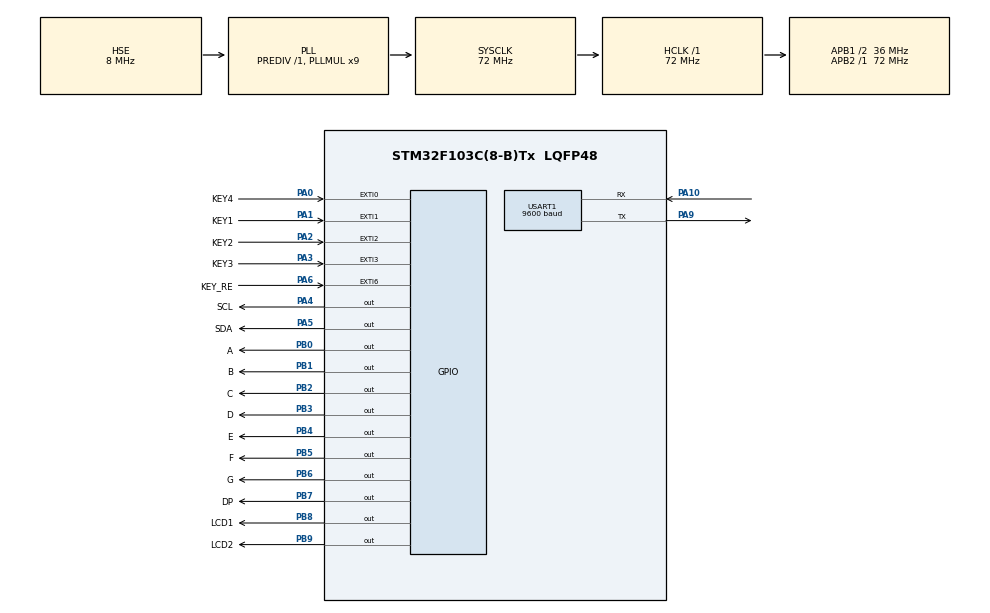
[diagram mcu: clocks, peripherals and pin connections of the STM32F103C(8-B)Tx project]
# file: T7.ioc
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Dma.Request0=USART1_RX
Dma.USART1_RX.0.Direction=DMA_PERIPH_TO_MEMORY
Dma.USART1_RX.0.Instance=DMA1_Channel5
Dma.USART1_RX.0.MemDataAlignment=DMA_MDATAALIGN_BYTE
Dma.USART1_RX.0.MemInc=DMA_MINC_ENABLE
Dma.USART1_RX.0.Mode=DMA_CIRCULAR
Dma.USART1_RX.0.PeriphDataAlignment=DMA_PDATAALIGN_BYTE
Dma.USART1_RX.0.PeriphInc=DMA_PINC_DISABLE
Dma.USART1_RX.0.Priority=DMA_PRIORITY_MEDIUM
FREERTOS.Mutexes01=counterMutex,Dynamic,NULL,Available
FREERTOS.Queues01=uartRxQueue,32,uint8_t,0,Dynamic,NULL,NULL;uartEvtQueue,8,UartEvent_t,0,Dynamic,NULL,NULL
FREERTOS.Tasks01=TaskDisplay,40,128,StartTaskDisplay,Default,NULL,Dynamic,NULL,NULL;TaskKey,32,192,StartTaskKey,Default,NULL,Dynamic,NULL,NULL;TaskUartRx,24,256,StartTaskUartRx,Default,NULL,Dynamic,NULL,NULL;TaskUartTx,8,192,StartTaskUartTx,Default,NULL,Dynamic,NULL,NULL
FREERTOS.configCHECK_FOR_STACK_OVERFLOW=2
FREERTOS.configENABLE_BACKWARD_COMPATIBILITY=0
FREERTOS.configTOTAL_HEAP_SIZE=6144
FREERTOS.configUSE_MALLOC_FAILED_HOOK=1
FREERTOS.configUSE_TRACE_FACILITY=0
Mcu.Family=STM32F1
Mcu.Name=STM32F103C(8-B)Tx
Mcu.Package=LQFP48
NVIC.DMA1_Channel5_IRQn=true\:5\:0\:false\:false\:true\:true\:false\:true\:true
NVIC.EXTI0_IRQn=true\:5\:0\:true\:false\:true\:true\:true\:true\:true
NVIC.EXTI1_IRQn=true\:5\:0\:true\:false\:true\:true\:true\:true\:true
NVIC.EXTI2_IRQn=true\:5\:0\:true\:false\:true\:true\:true\:true\:true
NVIC.EXTI3_IRQn=true\:5\:0\:true\:false\:true\:true\:true\:true\:true
NVIC.EXTI9_5_IRQn=true\:5\:0\:true\:false\:true\:true\:true\:true\:true
NVIC.PriorityGroup=NVIC_PRIORITYGROUP_4
NVIC.USART1_IRQn=true\:5\:0\:true\:false\:true\:true\:true\:true\:true
PA0-WKUP.GPIO_Label=KEY4
PA0-WKUP.GPIO_PuPd=GPIO_PULLDOWN
PA0-WKUP.Signal=GPXTI0
PA1.GPIO_Label=KEY1
PA1.GPIO_PuPd=GPIO_PULLDOWN
PA1.Signal=GPXTI1
PA10.Mode=Asynchronous
PA10.Signal=USART1_RX
PA2.GPIO_Label=KEY2
PA2.GPIO_PuPd=GPIO_PULLDOWN
PA2.Signal=GPXTI2
PA3.GPIO_Label=KEY3
PA3.GPIO_PuPd=GPIO_PULLDOWN
PA3.Signal=GPXTI3
PA4.GPIO_Label=SCL
PA4.GPIO_ModeDefaultOutputPP=GPIO_MODE_OUTPUT_OD
PA4.GPIO_PuPd=GPIO_PULLUP
PA4.GPIO_Speed=GPIO_SPEED_FREQ_HIGH
PA4.PinState=GPIO_PIN_SET
PA4.Signal=GPIO_Output
PA5.GPIO_Label=SDA
PA5.GPIO_ModeDefaultOutputPP=GPIO_MODE_OUTPUT_OD
PA5.GPIO_PuPd=GPIO_PULLUP
PA5.GPIO_Speed=GPIO_SPEED_FREQ_HIGH
PA5.PinState=GPIO_PIN_SET
PA5.Signal=GPIO_Output
PA6.GPIO_Label=KEY_RE
PA6.GPIO_PuPd=GPIO_PULLDOWN
PA6.Signal=GPXTI6
PA9.Mode=Asynchronous
PA9.Signal=USART1_TX
PB0.GPIO_Label=A
PB0.PinState=GPIO_PIN_RESET
PB0.Signal=GPIO_Output
PB1.GPIO_Label=B
PB1.Signal=GPIO_Output
PB2.GPIO_Label=C
PB2.Signal=GPIO_Output
PB3.GPIO_Label=D
PB3.Signal=GPIO_Output
PB4.GPIO_Label=E
PB4.Signal=GPIO_Output
PB5.GPIO_Label=F
PB5.Signal=GPIO_Output
PB6.GPIO_Label=G
PB6.Signal=GPIO_Output
PB7.GPIO_Label=DP
PB7.Signal=GPIO_Output
PB8.GPIO_Label=LCD1
PB8.Signal=GPIO_Output
PB9.GPIO_Label=LCD2
PB9.Signal=GPIO_Output
PC14-OSC32_IN.Mode=LSE-External-Oscillator
PC14-OSC32_IN.Signal=RCC_OSC32_IN
PC15-OSC32_OUT.Mode=LSE-External-Oscillator
PC15-OSC32_OUT.Signal=RCC_OSC32_OUT
PD0-OSC_IN.Mode=HSE-External-Oscillator
PD0-OSC_IN.Signal=RCC_OSC_IN
PD1-OSC_OUT.Mode=HSE-External-Oscillator
PD1-OSC_OUT.Signal=RCC_OSC_OUT
ProjectManager.HeapSize=0x200
ProjectManager.StackSize=0x400
ProjectManager.TargetToolchain=CMake
RCC.AHBFreq_Value=72000000
RCC.APB1CLKDivider=RCC_HCLK_DIV2
RCC.APB1Freq_Value=36000000
RCC.APB1TimFreq_Value=72000000
RCC.APB2Freq_Value=72000000
RCC.APB2TimFreq_Value=72000000
RCC.HCLKFreq_Value=72000000
RCC.PLLMUL=RCC_PLL_MUL9
RCC.PLLSourceVirtual=RCC_PLLSOURCE_HSE
RCC.SYSCLKFreq_VALUE=72000000
RCC.SYSCLKSource=RCC_SYSCLKSOURCE_PLLCLK
RCC.USBFreq_Value=72000000
USART1.BaudRate=9600
USART1.VirtualMode=VM_ASYNC
VP_FREERTOS_VS_CMSIS_V2.Mode=CMSIS_V2
VP_SYS_VS_ND.Mode=No_Debug
board=custom

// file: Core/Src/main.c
/* USER CODE BEGIN Header */
/**
 ******************************************************************************
 * @file    main.c
 * @brief   光电计数器（lab7）
 *
 * 功能：
 *   1. 2 位共阳数码管显示计数值（0~99）
 *   2. KEY1/KEY2/KEY3（PA1/PA2/PA3）加 / 减 / 清零，支持长按连加连减
 *   3. 串口 USART1 接收 {"GoodsNumber":"x"}\r\n 远程设定计数值
 *   4. KEY4（PA0）急停、KEY_RE（PA6）复位，经串口上报 ESTOP / RESET
 *
 * 上报报文（均以 \r\n 结尾）：ADD / SUB / ZERO / ESTOP / RESET
 * 下发报文：                  {"GoodsNumber":"x"}\r\n
 *
 * 模块划分：
 *   KEY/key.c        按键消抖 + 长短按状态机
 *   DISPLAY/display.c 数码管动态扫描
 *   UART_SEND/uart_send.c 事件队列 + 串口上报
 ******************************************************************************
 */
/* USER CODE END Header */
#include "main.h"
#include "cmsis_os.h"
#include "dma.h"
#include "usart.h"
#include "gpio.h"

/* USER CODE BEGIN Includes */
#include "display.h"
#include "key.h"
#include "uart_frame.h"
#include "uart_send.h"
#include "at24c02.h"
#include <stdio.h>
#include <stdlib.h>
#include <string.h>
/* USER CODE END Includes */

/* USER CODE BEGIN PV */
uint8_t GoodsNumber = 0; /* 当前计数值 0~99 */

/* 串口接收缓冲：DMA（或 RXNE 中断）把字节搬进这里，凑满或线路空闲时
   由 HAL_UARTEx_RxEventCallback 一次性交给任务。
   为什么必须是连续裸内存：DMA 只认"从 A 地址连续写到 B 地址"，
   它不认识 RTOS 队列的内部结构，不能直接往队列里写。 */
static uint8_t uart_rx_buf[UART_RX_BUF_SIZE];

/* 下面两个内核对象由 CubeMX 在 freertos.c 里创建
   （FREERTOS -> Tasks and Queues -> Queues / Mutexes） */
extern osMessageQueueId_t uartRxQueueHandle;   /* 中断收字节 -> TaskUartRx */
extern osMutexId_t        counterMutexHandle;  /* 保护 GoodsNumber 的写入 */
/* USER CODE END PV */

void SystemClock_Config(void);
void MX_FREERTOS_Init(void);
/* USER CODE BEGIN PFP */
void Counter_Set(int value);
uint8_t Counter_Get(void);
void Counter_ApplyCommand(const char *line);

/* 启动整帧接收（定义在 USER CODE 4）。freertos.c 在队列建好后调用。
   返回值必须检查：HAL_BUSY 表示 RxState 没回到 READY，接收会永久静默。 */
HAL_StatusTypeDef Uart_StartReceive(void);
/* 中断里重新武装；失败只记数（正常恒为 0，非 0 说明状态机卡在 BUSY_RX） */
static void Uart_Rearm(void);
static volatile uint32_t s_rx_rearm_fail;
/* USER CODE END PFP */

/* USER CODE BEGIN 0 */

/**
 * @brief  统一设置计数值
 * @param  value 目标值，越界时钳位到 0~99
 * @note   按键与串口下行都经过本函数，保证钳位规则只有一处。
 *         注意入参是 int：atoi() 返回的可能超过 99，
 *         若先转成 uint8_t 再判断会发生回绕（例如 300 -> 44）。
 */
void Counter_Set(int value) {
  if (value < 0)
    value = 0;
  if (value > 99)
    value = 99;

  /* 写计数值要加锁：TaskKey（按键）和 TaskUartRx（串口下行）都会写它，
     两个任务同时"读-改-写"会丢掉一次更新。
     读（Counter_Get）不加锁 —— 单字节读写是原子的，而且显示任务是最高优先级，
     不该为了读一个字节去抢锁、拖慢数码管扫描。 */
  (void)osMutexAcquire(counterMutexHandle, osWaitForever);

  GoodsNumber = (uint8_t)value;

  /* 无条件写盘，不做"值没变就跳过"的优化。
     因为一旦某次写失败（总线毛刺、器件还在忙），RAM 和 EEPROM 就分叉了；
     若还按"值没变就不写"跳过，用户之后一直按清零也修不回来 ——
     因为 RAM 已经是 0，判断相等直接跳过，下次开机旧值又冒出来。
     无条件写让分叉在下次操作时自动愈合。代价是偶尔多一次 6ms 的写，
     24C02 有 100 万次擦写寿命，人工改数的频率下可以忽略。

     写盘要 ~6ms（含芯片 5ms 内部写周期），这段时间锁一直被持有，
     另一个写者会阻塞这么久 —— 计数值是人工改的，这个代价可以接受。
     必须留在锁内：否则两个任务可能交错写，EEPROM 里最终留下的是旧值。
     显示任务不碰这把锁，所以数码管扫描完全不受影响。 */
  (void)AT24C02_SaveCount(GoodsNumber);

  (void)osMutexRelease(counterMutexHandle);
}

/**
 * @brief  读取当前计数值
 * @note   单字节读写在 Cortex-M3 上是原子的，显示任务直接读不会读到半个值
 */
uint8_t Counter_Get(void) {
  return GoodsNumber;
}

/**
 * @brief  解析串口下行指令 {"GoodsNumber":"x"}
 * @param  line 一行完整报文（以 '\0' 结尾），由 TaskUartRx 攒好后传入
 * @note   与裸机版的区别：这里直接拿到一整行字符串，不需要再关中断拷贝缓冲区。
 *         字节是通过队列逐个传过来的，攒帧缓冲是 TaskUartRx 的私有变量，
 *         天然没有竞态 —— 原来那套"关中断 + memcpy 到 local_buf"可以整个删掉。
 */
void Counter_ApplyCommand(const char *line) {
  char num_str[10];

  /* 宽度必须写成 %9[...]：num_str 只有 10 字节（含结尾的 '\0'），
     不加宽度限制的话，上位机发个 {"GoodsNumber":"999999999999"} 就能
     顺着栈写出 40 多字节，砸掉本函数的返回地址。 */
  if (sscanf(line, "{\"GoodsNumber\":\"%9[^\"]\"}", num_str) == 1) {
    Counter_Set(atoi(num_str));
  }
}

/* USER CODE END 0 */

int main(void)
{

  /* MCU Configuration--------------------------------------------------------*/

  /* Reset of all peripherals, Initializes the Flash interface and the Systick. */
  HAL_Init();

  /* Configure the system clock */
  SystemClock_Config();

  /* Initialize all configured peripherals */
  MX_GPIO_Init();
  MX_DMA_Init();
  MX_USART1_UART_Init();
  /* USER CODE BEGIN 2 */
  Display_Init();

  /* 上电先把上次存盘的计数值读回来。
     位置有讲究：必须在 MX_GPIO_Init() 之后（PA4/PA5 这时才配好开漏输出）。
     读操作本身不带延时，所以可以在调度器启动前调用 ——
     写操作里有 osDelay，那个只能在任务里调。 */
  {
    int saved = AT24C02_LoadCount();
    /* 空片（没写过）读回来是 0xFF，读失败返回 -1，都当 0 处理。
       这一步同时也是在自检：I²C 不通的话这里读回来就是 -1。 */
    GoodsNumber = (saved >= 0 && saved <= 99) ? (uint8_t)saved : 0;
  }

  /* 串口接收不在这里启动：要等 uartRxQueue 建好之后
     （见 freertos.c 的 USER CODE BEGIN RTOS_THREADS）。
     提前启动的话，从接收使能到队列创建之间到达的字节会因为句柄仍为空
     被 osMessageQueuePut 丢掉，主机的第一帧就废了。 */

  /* 这里【不要】调 Display_ShowNum()：
     它内部有 osDelay，而调度器还没启动，属于非法调用
     （vTaskDelay 会去操作还不存在的 pxCurrentTCB / 延迟链表）。
     当前之所以没出事，是因为 port.c 里 uxCriticalNesting 的复位值是
     0xaaaaaaaa，vPortExitCritical 判定不为 0 就不解除中断屏蔽，
     于是那个 PendSV 一直挂起到调度器启动后才被消化 —— 靠的是运气。
     TaskDisplay 一启动就会显示同一个值，本来也不需要在这里先显示一次。 */
  /* USER CODE END 2 */

  /* Init scheduler */
  osKernelInitialize();  /* Call init function for freertos objects (in cmsis_os2.c) */
  MX_FREERTOS_Init();

  /* Start scheduler */
  osKernelStart();

  /* We should never get here as control is now taken by the scheduler */

  /* Infinite loop */
  /* USER CODE BEGIN WHILE */
  /* 控制权已经交给调度器：osKernelStart() 不会返回。
     原先的裸机主循环（按键状态机 / 串口解析 / 上报 / 数码管扫描）
     已经拆成 freertos.c 里的四个任务。 */
  while (1) {
  }
    /* USER CODE END WHILE */

}

void SystemClock_Config(void)
{
  RCC_OscInitTypeDef RCC_OscInitStruct = {0};
  RCC_ClkInitTypeDef RCC_ClkInitStruct = {0};

  /** Initializes the RCC Oscillators according to the specified parameters
  * in the RCC_OscInitTypeDef structure.
  */
  RCC_OscInitStruct.OscillatorType = RCC_OSCILLATORTYPE_HSE;
  RCC_OscInitStruct.HSEState = RCC_HSE_ON;
  RCC_OscInitStruct.HSEPredivValue = RCC_HSE_PREDIV_DIV1;
  RCC_OscInitStruct.HSIState = RCC_HSI_ON;
  RCC_OscInitStruct.PLL.PLLState = RCC_PLL_ON;
  RCC_OscInitStruct.PLL.PLLSource = RCC_PLLSOURCE_HSE;
  RCC_OscInitStruct.PLL.PLLMUL = RCC_PLL_MUL9;
  if (HAL_RCC_OscConfig(&RCC_OscInitStruct) != HAL_OK)
  {
    Error_Handler();
  }

  /** Initializes the CPU, AHB and APB buses clocks
  */
  RCC_ClkInitStruct.ClockType = RCC_CLOCKTYPE_HCLK|RCC_CLOCKTYPE_SYSCLK
                              |RCC_CLOCKTYPE_PCLK1|RCC_CLOCKTYPE_PCLK2;
  RCC_ClkInitStruct.SYSCLKSource = RCC_SYSCLKSOURCE_PLLCLK;
  RCC_ClkInitStruct.AHBCLKDivider = RCC_SYSCLK_DIV1;
  RCC_ClkInitStruct.APB1CLKDivider = RCC_HCLK_DIV2;
  RCC_ClkInitStruct.APB2CLKDivider = RCC_HCLK_DIV1;

  if (HAL_RCC_ClockConfig(&RCC_ClkInitStruct, FLASH_LATENCY_2) != HAL_OK)
  {
    Error_Handler();
  }
}

/* USER CODE BEGIN 4 */

/**
 * @brief  [已废弃] 改造前的逐字节接收方案（现由下方 Uart_StartReceive
 *         与 HAL_UARTEx_RxEventCallback 取代，改为整帧接收）
 * @note   以下为改造前的记录，保留以便对照：
 *         以前在这里逐字节攒帧、判
、置标志位，现在全交给 TaskUartRx。
 *         中断变短了，也不用再操心主循环什么时候来取。
 */
/**
 * @brief  启动（或重启）整帧接收
 * @note   按 uart_frame.h 里的 UART_RX_USE_DMA 选择底层搬运方式：
 *           1 → DMA1_Channel5 自动搬运，CPU 不参与
 *           0 → RXNE 中断逐字节搬运（Proteus 仿真用这个）
 *         两种方式下回调、判帧、队列结构完全一致，只有"谁搬字节"不同。
 *         必须在 uartRxQueue 建好之后调用（见 freertos.c 的 RTOS_THREADS）。
 */
HAL_StatusTypeDef Uart_StartReceive(void) {
#if UART_RX_USE_DMA
  return HAL_UARTEx_ReceiveToIdle_DMA(&huart1, uart_rx_buf,
                                      sizeof(uart_rx_buf));
#else
  return HAL_UARTEx_ReceiveToIdle_IT(&huart1, uart_rx_buf,
                                     sizeof(uart_rx_buf));
#endif
}

/**
 * @brief 中断上下文里的"重新武装"：失败只记数，不打印（中断里不能阻塞发送）。
 */
static void Uart_Rearm(void) {
  if (Uart_StartReceive() != HAL_OK) {
    s_rx_rearm_fail++; /* 正常应恒为 0；非 0 说明 HAL 状态机没回到 READY */
  }
}

/**
 * @brief  整帧接收事件回调（IDLE 触发 = 一帧结束，或缓冲写满）
 * @param  Size 本次收到的字节数
 *
 * @note   中断里只做三件事：拷贝整帧、投递队列、重新武装。
 *
 *         为什么必须 memcpy 而不能只传指针：
 *         uart_rx_buf 是下一步接收的写入目标，只丢指针给任务的话，
 *         任务还没解析完，下一帧就已经把它覆盖了。
 *
 *         ⚠ 本函数在 USART1（以及 DMA1_Channel5）中断里跑，两者的抢占
 *         优先级都是 5（configLIBRARY_MAX_SYSCALL_INTERRUPT_PRIORITY），
 *         才能调用 osMessageQueuePut；数值小于 5 会触发 configASSERT。
 */
void HAL_UARTEx_RxEventCallback(UART_HandleTypeDef *huart, uint16_t Size) {
  if (huart->Instance == USART1) {
    UartFrame_t frame;

    if (Size > UART_FRAME_MAX) {
      Size = UART_FRAME_MAX; /* 超长帧截断，防止越界 */
    }
    frame.len = Size;
    memcpy(frame.data, uart_rx_buf, Size);

    /* 中断上下文：超时参数必须为 0；队列满时丢帧而不是阻塞 */
    (void)osMessageQueuePut(uartRxQueueHandle, &frame, 0U, 0U);

    Uart_Rearm(); /* 重新武装，准备下一帧 */
  }
}

/**
 * @brief  串口错误回调（溢出 ORE / 帧错 / 噪声 / DMA 传输错误）
 * @note   必须实现。HAL 在错误路径里会把接收状态清掉且不再自动重开，
 *         不重新武装的话串口会【永久失聪】直到复位 ——
 *         这就是实验九上踩过的那个坑（ORE 关闭了 RXNEIE）。
 */
void HAL_UART_ErrorCallback(UART_HandleTypeDef *huart) {
  if (huart->Instance == USART1) {
    Uart_Rearm();
  }
}

/* USER CODE END 4 */

void Error_Handler(void)
{
  __disable_irq();
  while (1) {
  }
}

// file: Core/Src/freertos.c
/* USER CODE BEGIN Header */
/**
 ******************************************************************************
 * File Name          : freertos.c
 * Description        : Code for freertos applications
 ******************************************************************************
 * @attention
 *
 * Copyright (c) 2026 STMicroelectronics.
 * All rights reserved.
 *
 * This software is licensed under terms that can be found in the LICENSE file
 * in the root directory of this software component.
 * If no LICENSE file comes with this software, it is provided AS-IS.
 *
 ******************************************************************************
 */
/* USER CODE END Header */

#include "FreeRTOS.h"
#include "task.h"
#include "main.h"
#include "cmsis_os.h"

/* USER CODE BEGIN Includes */
/* 诊断用，定义在 main.c；定位完会删 */
#include "display.h"
#include "key.h"
#include "uart_frame.h"
#include "uart_send.h"
#include "usart.h"

extern void Counter_ApplyCommand(const char *line);

/* 计数器由 main.c 持有，键任务和串口任务都要用它 */
extern uint8_t Counter_Get(void);
extern void Counter_Set(int value);

/* main.c 里的整帧接收启动函数（内部持有接收缓冲，DMA/IT 由宏切换） */
extern HAL_StatusTypeDef Uart_StartReceive(void);

/* USER CODE END Includes */

/* Definitions for TaskDisplay */
osThreadId_t TaskDisplayHandle;
const osThreadAttr_t TaskDisplay_attributes = {
  .name = "TaskDisplay",
  .stack_size = 128 * 4,
  .priority = (osPriority_t) osPriorityHigh,
};
/* Definitions for TaskKey */
osThreadId_t TaskKeyHandle;
const osThreadAttr_t TaskKey_attributes = {
  .name = "TaskKey",
  .stack_size = 192 * 4,
  .priority = (osPriority_t) osPriorityAboveNormal,
};
/* Definitions for TaskUartRx */
osThreadId_t TaskUartRxHandle;
const osThreadAttr_t TaskUartRx_attributes = {
  .name = "TaskUartRx",
  .stack_size = 256 * 4,
  .priority = (osPriority_t) osPriorityNormal,
};
/* Definitions for TaskUartTx */
osThreadId_t TaskUartTxHandle;
const osThreadAttr_t TaskUartTx_attributes = {
  .name = "TaskUartTx",
  .stack_size = 192 * 4,
  .priority = (osPriority_t) osPriorityLow,
};
/* Definitions for uartRxQueue */
osMessageQueueId_t uartRxQueueHandle;
const osMessageQueueAttr_t uartRxQueue_attributes = {
  .name = "uartRxQueue"
};
/* Definitions for uartEvtQueue */
osMessageQueueId_t uartEvtQueueHandle;
const osMessageQueueAttr_t uartEvtQueue_attributes = {
  .name = "uartEvtQueue"
};
/* Definitions for counterMutex */
osMutexId_t counterMutexHandle;
const osMutexAttr_t counterMutex_attributes = {
  .name = "counterMutex"
};

void StartTaskDisplay(void *argument);
void StartTaskKey(void *argument);
void StartTaskUartRx(void *argument);
void StartTaskUartTx(void *argument);

void MX_FREERTOS_Init(void); /* (MISRA C 2004 rule 8.1) */

/* Hook prototypes */
void vApplicationStackOverflowHook(TaskHandle_t xTask, signed char *pcTaskName);
void vApplicationMallocFailedHook(void);

/* USER CODE BEGIN 4 */
void vApplicationStackOverflowHook(TaskHandle_t xTask,
                                   signed char *pcTaskName) {
  Error_Handler();
}
/* USER CODE END 4 */

/* USER CODE BEGIN 5 */
void vApplicationMallocFailedHook(void) { Error_Handler(); }
/* USER CODE END 5 */

void MX_FREERTOS_Init(void) {
  /* Create the mutex(es) */
  /* creation of counterMutex */
  counterMutexHandle = osMutexNew(&counterMutex_attributes);

  /* Create the queue(s) */
  /* creation of uartRxQueue */
  /* ⚠ 本行由 CubeMX 生成，但已手工修改：元素类型从 uint8_t（单字节）
     改为 UartFrame_t（整帧），深度从 32 降到 4。
     若日后用 CubeMX 重新生成代码，请在 FREERTOS → Queues 里把
     uartRxQueue 的 Item Size 改为 66（= sizeof(UartFrame_t)）、
     Queue Size 改为 4，否则会退回旧的“32 × 1 字节”配置。 */
  uartRxQueueHandle = osMessageQueueNew (UART_FRAME_QUEUE_DEPTH, sizeof(UartFrame_t), &uartRxQueue_attributes);

  /* creation of uartEvtQueue */
  uartEvtQueueHandle = osMessageQueueNew (8, sizeof(UartEvent_t), &uartEvtQueue_attributes);

  /* Create the thread(s) */
  /* creation of TaskDisplay */
  TaskDisplayHandle = osThreadNew(StartTaskDisplay, NULL, &TaskDisplay_attributes);

  /* creation of TaskKey */
  TaskKeyHandle = osThreadNew(StartTaskKey, NULL, &TaskKey_attributes);

  /* creation of TaskUartRx */
  TaskUartRxHandle = osThreadNew(StartTaskUartRx, NULL, &TaskUartRx_attributes);

  /* creation of TaskUartTx */
  TaskUartTxHandle = osThreadNew(StartTaskUartTx, NULL, &TaskUartTx_attributes);

  /* USER CODE BEGIN RTOS_THREADS */

  /* add threads, ... */

  /* 串口接收必须在 uartRxQueue 建好之后启动。
     若提前到 main() 的 USER CODE 2 里开，从接收使能到队列创建之间
     到达的字节会因为句柄仍为空被 osMessageQueuePut 丢掉。 */
  (void)Uart_StartReceive();
  /* USER CODE END RTOS_THREADS */

}

void StartTaskDisplay(void *argument)
{
  /* USER CODE BEGIN StartTaskDisplay */
  /* Display_ShowNum 一次调用扫描一轮（十位 1ms + 个位 1ms）。
     本任务优先级最高，保证扫描节拍不被别人拖慢 —— 刷新低于 ~50Hz 肉眼就见闪。
     函数内部用 osDelay 让出 CPU，所以不会饿死下面的任务。 */
  for (;;) {
    Display_ShowNum(Counter_Get());
  }
  /* USER CODE END StartTaskDisplay */
}

void StartTaskKey(void *argument)
{
  /* USER CODE BEGIN StartTaskKey */
  for (;;) {
    /* 只有计数值确实改变时才上报，
       否则到 99 后长按会向串口刷屏、上位机镜像计数也会跑偏 */
    switch (Key_Process()) {
    case KEY_EVENT_ADD:
      if (Counter_Get() < 99) {
        Counter_Set(Counter_Get() + 1);
        Uart_EventPush(UART_EVT_ADD);
      }
      break;

    case KEY_EVENT_SUB:
      if (Counter_Get() > 0) {
        Counter_Set(Counter_Get() - 1);
        Uart_EventPush(UART_EVT_SUB);
      }
      break;

    case KEY_EVENT_CLEAR:
      Counter_Set(0);
      Uart_EventPush(UART_EVT_ZERO);
      break;

    default:
      break;
    }

    /* 10ms 轮询一次足够：人的按键反应在 100ms 以上 */
    osDelay(10);
  }
  /* USER CODE END StartTaskKey */
}

void StartTaskUartRx(void *argument)
{
  /* USER CODE BEGIN StartTaskUartRx */
  /* 队列里现在放的是【整帧】而不是单个字节：
     DMA（或 RXNE 中断）把字节搬进 uart_rx_buf，IDLE 触发时 HAL 一次性
     告知这一帧的长度，回调里 memcpy 成 UartFrame_t 投递过来。
     所以这里不再需要"攒字节"的私有缓冲。 */
  UartFrame_t frame;

  for (;;) {
    /* 阻塞等一帧。没有数据时本任务完全不被调度，不占 CPU ——
       这是队列相比裸机版轮询标志位最本质的差别。 */
    if (osMessageQueueGet(uartRxQueueHandle, &frame, NULL, osWaitForever) !=
        osOK) {
      continue;
    }

    /* 补字符串结束符（回调只拷贝了 len 个字节，没有写 '\0'） */
    if (frame.len >= UART_FRAME_MAX) {
      frame.len = UART_FRAME_MAX - 1;
    }
    frame.data[frame.len] = '\0';

    /* 一帧里可能包含多行（主机连发两条命令、间隔小于 1 个字符时间时
       IDLE 不会把它们分开），按 CR/LF 逐行切，空行跳过。
       正常单条命令的场景下这个循环只跑一次。 */
    char *p = frame.data;
    while (*p != '\0') {
      char *nl = p;
      while (*nl != '\0' && *nl != '\r' && *nl != '\n') {
        nl++;
      }

      char saved = *nl;
      *nl = '\0';
      if (*p != '\0') {
        Counter_ApplyCommand(p);
      }
      if (saved == '\0') {
        break;
      }
      p = nl + 1;
    }
  }
  /* USER CODE END StartTaskUartRx */
}

void StartTaskUartTx(void *argument)
{
  /* USER CODE BEGIN StartTaskUartTx */
  UartEvent_t evt;

  for (;;) {
    /* 阻塞等一个待上报事件。相比裸机版每轮主循环都去查一次"有没有事件"，
       这里任务是真的睡着了，由内核在入队那一刻唤醒。 */
    if (osMessageQueueGet(uartEvtQueueHandle, &evt, NULL, osWaitForever) ==
        osOK) // 判断是否成功从串口事件队列中获取到一个事件
    {
      Uart_SendEvent(evt);
    }
  }
  /* USER CODE END StartTaskUartTx */
}
